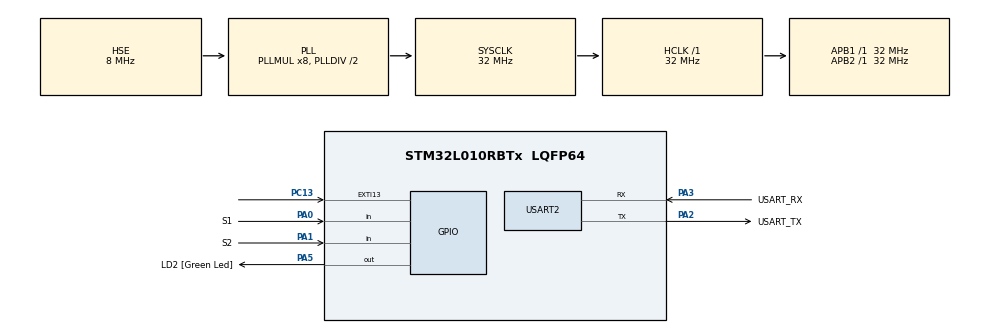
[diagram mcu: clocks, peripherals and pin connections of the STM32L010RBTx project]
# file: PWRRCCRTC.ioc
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Mcu.Family=STM32L0
Mcu.Name=STM32L010RBTx
Mcu.Package=LQFP64
NVIC.RTC_IRQn=true\:0\:0\:false\:false\:true\:true\:true\:true
PA0.GPIO_Label=S1
PA0.Signal=GPIO_Input
PA1.GPIO_Label=S2
PA1.Signal=GPIO_Input
PA13.GPIO_Label=TMS
PA13.Mode=Serial_Wire
PA13.Signal=SYS_SWDIO
PA14.GPIO_Label=TCK
PA14.Mode=Serial_Wire
PA14.Signal=SYS_SWCLK
PA2.GPIO_Label=USART_TX
PA2.Mode=Asynchronous
PA2.Signal=USART2_TX
PA3.GPIO_Label=USART_RX
PA3.Mode=Asynchronous
PA3.Signal=USART2_RX
PA5.GPIO_Label=LD2 [Green Led]
PA5.Signal=GPIO_Output
PC13.GPIO_ModeDefaultEXTI=GPIO_MODE_EVT_RISING
PC13.Signal=GPXTI13
PC14-OSC32_IN.Mode=LSE-External-Oscillator
PC14-OSC32_IN.Signal=RCC_OSC32_IN
PC15-OSC32_OUT.Mode=LSE-External-Oscillator
PC15-OSC32_OUT.Signal=RCC_OSC32_OUT
PH0-OSC_IN.GPIO_Label=MCO
PH0-OSC_IN.Mode=HSE-External-Clock-Source
PH0-OSC_IN.Signal=RCC_OSC_IN
ProjectManager.HeapSize=0x200
ProjectManager.StackSize=0x400
ProjectManager.TargetToolchain=STM32CubeIDE
RCC.AHBFreq_Value=32000000
RCC.APB1Freq_Value=32000000
RCC.APB1TimFreq_Value=32000000
RCC.APB2Freq_Value=32000000
RCC.APB2TimFreq_Value=32000000
RCC.HCLKFreq_Value=32000000
RCC.HSE_VALUE=8000000
RCC.HSI16_VALUE=16000000
RCC.HSI48_VALUE=48000000
RCC.HSI_VALUE=16000000
RCC.MSI_VALUE=2097000
RCC.PLLMUL=RCC_PLLMUL_8
RCC.PLLSourceVirtual=RCC_PLLSOURCE_HSE
RCC.PREFETCH_ENABLE=1
RCC.PWR_Regulator_Voltage_Scale=PWR_REGULATOR_VOLTAGE_SCALE1
RCC.RTCClockSelection=RCC_RTCCLKSOURCE_LSE
RCC.RTCClockSelectionVirtual=RCC_RTCCLKSOURCE_LSE
RCC.SYSCLKFreq_VALUE=32000000
RCC.SYSCLKSource=RCC_SYSCLKSOURCE_PLLCLK
RCC.VCOOutputFreq_Value=64000000
RCC.VDD_VALUE=3.3
RTC.Alarm-Alarm\ A=RTC_ALARM_A
RTC.AlarmMaskHours-Alarm\ A=RTC_ALARMMASK_HOURS
RTC.AlarmMaskMinutes-Alarm\ A=RTC_ALARMMASK_MINUTES
RTC.AlarmMaskSeconds-Alarm\ A=RTC_ALARMMASK_SECONDS
RTC.StoreOperation=RTC_STOREOPERATION_SET
USART2.VirtualMode-Asynchronous=VM_ASYNC
VP_RTC_VS_RTC_Activate.Mode=RTC_Enabled
VP_RTC_VS_RTC_Alarm_A_Intern.Mode=Alarm A
VP_RTC_VS_RTC_Calendar.Mode=RTC_Calendar
board=NUCLEO-L010RB

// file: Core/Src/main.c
/* USER CODE BEGIN Header */
/**
  ******************************************************************************
  * @file           : main.c
  * @brief          : Main program body
  ******************************************************************************
  * @attention
  *
  * <h2><center>&copy; Copyright (c) 2021 STMicroelectronics.
  * All rights reserved.</center></h2>
  *
  * This software component is licensed by ST under BSD 3-Clause license,
  * the "License"; You may not use this file except in compliance with the
  * License. You may obtain a copy of the License at:
  *                        opensource.org/licenses/BSD-3-Clause
  *
  ******************************************************************************
  */
/* USER CODE END Header */
#include "main.h"

RTC_HandleTypeDef hrtc;

UART_HandleTypeDef huart2;

/* USER CODE BEGIN PV */
RTC_TimeTypeDef NowTime;
RTC_DateTypeDef NowDate;
/* USER CODE END PV */

void SystemClock_Config(void);
static void MX_GPIO_Init(void);
static void MX_USART2_UART_Init(void);
static void MX_RTC_Init(void);

int main(void)
{

  /* MCU Configuration--------------------------------------------------------*/

  /* Reset of all peripherals, Initializes the Flash interface and the Systick. */
  HAL_Init();

  /* Configure the system clock */
  SystemClock_Config();

  /* Initialize all configured peripherals */
  MX_GPIO_Init();
  MX_USART2_UART_Init();
  MX_RTC_Init();

  /* Infinite loop */
  /* USER CODE BEGIN WHILE */
  while (1)
  {
	  //setting Time by pressing S1
	  if(HAL_GPIO_ReadPin(S1_GPIO_Port, S1_Pin)==GPIO_PIN_RESET)
	  {
		  RTC_TimeTypeDef sTime={0};
		  sTime.Hours =0x14;
		  sTime.Minutes =0x30;
		  sTime.Seconds =0;

		  HAL_RTC_SetTime(&hrtc, &sTime, RTC_FORMAT_BCD);

		  RTC_DateTypeDef sDate ={0};
		  sDate.Date = 0x20;
		  sDate.Month = 0x10;
		  sDate.WeekDay = RTC_WEEKDAY_WEDNESDAY;
		  sDate.Year = 0x21;

		  HAL_RTC_SetDate(&hrtc, &sDate, RTC_FORMAT_BCD);
	  }
	  //set alarm at next 10s , and Sleep CPU
	  if(HAL_GPIO_ReadPin(S2_GPIO_Port, S2_Pin)==GPIO_PIN_RESET)
	  {

			RTC_AlarmTypeDef sAlarm = { 0 };
			RTC_TimeTypeDef sTime = NowTime;

			//sett alarm at now + 10 s
			sTime.Seconds += 0x10;
			//corrected over time

			if (sTime.Seconds >= 0x60) {
				sTime.Seconds -= 0x60;
				sTime.Minutes++;
				if (sTime.Minutes >= 0x60) {
					sTime.Minutes -= 0x60;
					sTime.Hours++;
					if (sTime.Hours >= 0x24) {
						sTime.Hours -= 0x24;
					}
				}
			}
			//setting alarm mask
			sAlarm.AlarmTime = sTime;
			sAlarm.Alarm = RTC_ALARM_A;
			sAlarm.AlarmMask = RTC_ALARMMASK_DATEWEEKDAY;
			sAlarm.AlarmSubSecondMask = RTC_ALARMSUBSECONDMASK_NONE;
			sAlarm.AlarmDateWeekDaySel = RTC_ALARMDATEWEEKDAYSEL_DATE;
			sAlarm.AlarmDateWeekDay = 0x1;
			//stop LED (For save energy)
			HAL_GPIO_WritePin(LD2_GPIO_Port, LD2_Pin, GPIO_PIN_RESET);

			//set alarm
			HAL_RTC_SetAlarm_IT(&hrtc, &sAlarm, RTC_FORMAT_BCD);

			//put cpu to stop mode
			HAL_SuspendTick();
			HAL_PWR_EnterSLEEPMode( PWR_MAINREGULATOR_ON,PWR_STOPENTRY_WFE);

			//code stop / resume here

			HAL_ResumeTick();

		}

    /* USER CODE END WHILE */

    /* USER CODE BEGIN 3 */

	  //simulate task
	  HAL_Delay(100);
	  HAL_GPIO_TogglePin(LD2_GPIO_Port, LD2_Pin);

	  //read RTC NEED TO READ BOTH IN OTHER
	  HAL_RTC_GetTime(&hrtc, &NowTime, RTC_FORMAT_BCD);
	  HAL_RTC_GetDate(&hrtc, &NowDate, RTC_FORMAT_BCD);
  }
  /* USER CODE END 3 */
}

void SystemClock_Config(void)
{
  RCC_OscInitTypeDef RCC_OscInitStruct = {0};
  RCC_ClkInitTypeDef RCC_ClkInitStruct = {0};
  RCC_PeriphCLKInitTypeDef PeriphClkInit = {0};

  /** Configure the main internal regulator output voltage
  */
  __HAL_PWR_VOLTAGESCALING_CONFIG(PWR_REGULATOR_VOLTAGE_SCALE1);

  /** Configure LSE Drive Capability
  */
  HAL_PWR_EnableBkUpAccess();
  __HAL_RCC_LSEDRIVE_CONFIG(RCC_LSEDRIVE_LOW);

  /** Initializes the RCC Oscillators according to the specified parameters
  * in the RCC_OscInitTypeDef structure.
  */
  RCC_OscInitStruct.OscillatorType = RCC_OSCILLATORTYPE_HSE|RCC_OSCILLATORTYPE_LSE;
  RCC_OscInitStruct.HSEState = RCC_HSE_BYPASS;
  RCC_OscInitStruct.LSEState = RCC_LSE_ON;
  RCC_OscInitStruct.PLL.PLLState = RCC_PLL_ON;
  RCC_OscInitStruct.PLL.PLLSource = RCC_PLLSOURCE_HSE;
  RCC_OscInitStruct.PLL.PLLMUL = RCC_PLLMUL_8;
  RCC_OscInitStruct.PLL.PLLDIV = RCC_PLLDIV_2;
  if (HAL_RCC_OscConfig(&RCC_OscInitStruct) != HAL_OK)
  {
    Error_Handler();
  }

  /** Initializes the CPU, AHB and APB buses clocks
  */
  RCC_ClkInitStruct.ClockType = RCC_CLOCKTYPE_HCLK|RCC_CLOCKTYPE_SYSCLK
                              |RCC_CLOCKTYPE_PCLK1|RCC_CLOCKTYPE_PCLK2;
  RCC_ClkInitStruct.SYSCLKSource = RCC_SYSCLKSOURCE_PLLCLK;
  RCC_ClkInitStruct.AHBCLKDivider = RCC_SYSCLK_DIV1;
  RCC_ClkInitStruct.APB1CLKDivider = RCC_HCLK_DIV1;
  RCC_ClkInitStruct.APB2CLKDivider = RCC_HCLK_DIV1;

  if (HAL_RCC_ClockConfig(&RCC_ClkInitStruct, FLASH_LATENCY_1) != HAL_OK)
  {
    Error_Handler();
  }
  PeriphClkInit.PeriphClockSelection = RCC_PERIPHCLK_USART2|RCC_PERIPHCLK_RTC;
  PeriphClkInit.Usart2ClockSelection = RCC_USART2CLKSOURCE_PCLK1;
  PeriphClkInit.RTCClockSelection = RCC_RTCCLKSOURCE_LSE;
  if (HAL_RCCEx_PeriphCLKConfig(&PeriphClkInit) != HAL_OK)
  {
    Error_Handler();
  }
}

static void MX_RTC_Init(void)
{

  RTC_TimeTypeDef sTime = {0};
  RTC_DateTypeDef sDate = {0};
  RTC_AlarmTypeDef sAlarm = {0};

  /** Initialize RTC Only
  */
  hrtc.Instance = RTC;
  hrtc.Init.HourFormat = RTC_HOURFORMAT_24;
  hrtc.Init.AsynchPrediv = 127;
  hrtc.Init.SynchPrediv = 255;
  hrtc.Init.OutPut = RTC_OUTPUT_DISABLE;
  hrtc.Init.OutPutRemap = RTC_OUTPUT_REMAP_NONE;
  hrtc.Init.OutPutPolarity = RTC_OUTPUT_POLARITY_HIGH;
  hrtc.Init.OutPutType = RTC_OUTPUT_TYPE_OPENDRAIN;
  if (HAL_RTC_Init(&hrtc) != HAL_OK)
  {
    Error_Handler();
  }

  /* USER CODE BEGIN Check_RTC_BKUP */
if(HAL_RTCEx_BKUPRead(&hrtc, 0)!=0x1234)//checking lost power rtc reset
{
  /* USER CODE END Check_RTC_BKUP */

  /** Initialize RTC and set the Time and Date
  */
  sTime.Hours = 0x0;
  sTime.Minutes = 0x0;
  sTime.Seconds = 0x0;
  sTime.DayLightSaving = RTC_DAYLIGHTSAVING_NONE;
  sTime.StoreOperation = RTC_STOREOPERATION_SET;
  if (HAL_RTC_SetTime(&hrtc, &sTime, RTC_FORMAT_BCD) != HAL_OK)
  {
    Error_Handler();
  }
  sDate.WeekDay = RTC_WEEKDAY_MONDAY;
  sDate.Month = RTC_MONTH_JANUARY;
  sDate.Date = 0x1;
  sDate.Year = 0x0;

  if (HAL_RTC_SetDate(&hrtc, &sDate, RTC_FORMAT_BCD) != HAL_OK)
  {
    Error_Handler();
  }

  /** Enable the Alarm A
  */
  sAlarm.AlarmTime.Hours = 0x0;
  sAlarm.AlarmTime.Minutes = 0x0;
  sAlarm.AlarmTime.Seconds = 0x0;
  sAlarm.AlarmTime.SubSeconds = 0x0;
  sAlarm.AlarmTime.DayLightSaving = RTC_DAYLIGHTSAVING_NONE;
  sAlarm.AlarmTime.StoreOperation = RTC_STOREOPERATION_SET;
  sAlarm.AlarmMask = RTC_ALARMMASK_HOURS|RTC_ALARMMASK_MINUTES
                              |RTC_ALARMMASK_SECONDS;
  sAlarm.AlarmSubSecondMask = RTC_ALARMSUBSECONDMASK_ALL;
  sAlarm.AlarmDateWeekDaySel = RTC_ALARMDATEWEEKDAYSEL_DATE;
  sAlarm.AlarmDateWeekDay = 0x1;
  sAlarm.Alarm = RTC_ALARM_A;
  if (HAL_RTC_SetAlarm_IT(&hrtc, &sAlarm, RTC_FORMAT_BCD) != HAL_OK)
  {
    Error_Handler();
  }
  /* USER CODE BEGIN RTC_Init 2 */
  HAL_RTCEx_BKUPWrite(&hrtc, 0, 0x1234); //write Private "Key" data
}
  /* USER CODE END RTC_Init 2 */

}

static void MX_USART2_UART_Init(void)
{

  huart2.Instance = USART2;
  huart2.Init.BaudRate = 115200;
  huart2.Init.WordLength = UART_WORDLENGTH_8B;
  huart2.Init.StopBits = UART_STOPBITS_1;
  huart2.Init.Parity = UART_PARITY_NONE;
  huart2.Init.Mode = UART_MODE_TX_RX;
  huart2.Init.HwFlowCtl = UART_HWCONTROL_NONE;
  huart2.Init.OverSampling = UART_OVERSAMPLING_16;
  huart2.Init.OneBitSampling = UART_ONE_BIT_SAMPLE_DISABLE;
  huart2.AdvancedInit.AdvFeatureInit = UART_ADVFEATURE_NO_INIT;
  if (HAL_UART_Init(&huart2) != HAL_OK)
  {
    Error_Handler();
  }

}

static void MX_GPIO_Init(void)
{
  GPIO_InitTypeDef GPIO_InitStruct = {0};

  /* GPIO Ports Clock Enable */
  __HAL_RCC_GPIOC_CLK_ENABLE();
  __HAL_RCC_GPIOH_CLK_ENABLE();
  __HAL_RCC_GPIOA_CLK_ENABLE();

  /*Configure GPIO pin Output Level */
  HAL_GPIO_WritePin(LD2_GPIO_Port, LD2_Pin, GPIO_PIN_RESET);

  /*Configure GPIO pin : PC13 */
  GPIO_InitStruct.Pin = GPIO_PIN_13;
  GPIO_InitStruct.Mode = GPIO_MODE_EVT_RISING;
  GPIO_InitStruct.Pull = GPIO_NOPULL;
  HAL_GPIO_Init(GPIOC, &GPIO_InitStruct);

  /*Configure GPIO pins : S1_Pin S2_Pin */
  GPIO_InitStruct.Pin = S1_Pin|S2_Pin;
  GPIO_InitStruct.Mode = GPIO_MODE_INPUT;
  GPIO_InitStruct.Pull = GPIO_NOPULL;
  HAL_GPIO_Init(GPIOA, &GPIO_InitStruct);

  /*Configure GPIO pin : LD2_Pin */
  GPIO_InitStruct.Pin = LD2_Pin;
  GPIO_InitStruct.Mode = GPIO_MODE_OUTPUT_PP;
  GPIO_InitStruct.Pull = GPIO_NOPULL;
  GPIO_InitStruct.Speed = GPIO_SPEED_FREQ_LOW;
  HAL_GPIO_Init(LD2_GPIO_Port, &GPIO_InitStruct);

}

void Error_Handler(void)
{
  __disable_irq();
  while (1)
  {
  }
}
